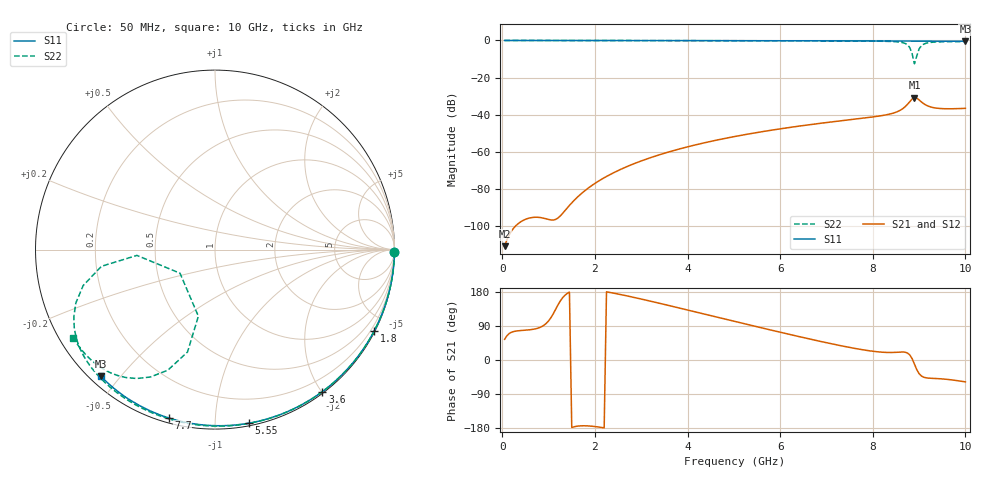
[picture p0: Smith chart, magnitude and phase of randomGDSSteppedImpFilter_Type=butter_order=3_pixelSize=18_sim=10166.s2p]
! freq	dB(S11)	phase(S11)	dB(S12)	phase(S12)
!  dB(S21)	phase(S21)	dB(S22)	phase(S22)
!S-par simulation data
#  GHz  S  DB  R 50
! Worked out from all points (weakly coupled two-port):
!   200 points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, 50 MHz to 10 GHz, reference 50 ohm
!   highest |S21| = -30.77 dB at 8.9 GHz (marker M1); lowest = -110.8 dB at 50 MHz (marker M2)
!   lowest |S11| = -0.4 dB at 10 GHz (marker M3), VSWR 39.07, Z = 1.53 - j22.2 ohm
!   |S11| at or under -10 dB: nowhere
!   |S22| runs from -12.6 to 0.0 dB; largest |S21 - S12| = 0
!   S11 on the Smith chart (normalised r, x): 50 MHz: open; 1.8 GHz: 0.04, -4.16; 3.6 GHz: 0.02, -2.01; 5.55 GHz: 0.02, -1.21; 7.7 GHz: 0.02, -0.76; 10 GHz: 0.03, -0.44
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0.05  -0.00 -0.8  -110.83 54.6  -110.83 54.6  -0.00 -0.9
1.75  -0.03 -26.3  -81.60 -173.5  -81.60 -173.5  -0.04 -31.0
1.8  -0.03 -27.0  -80.60 -173.6  -80.60 -173.6  -0.04 -31.8
2.55  -0.05 -38.0  -69.52 172.9  -69.52 172.9  -0.06 -44.7
3.4  -0.07 -50.1  -61.53 149.5  -61.53 149.5  -0.08 -58.8
3.6  -0.07 -52.9  -60.02 143.7  -60.02 143.7  -0.08 -62.1
5.05  -0.11 -72.5  -51.60 100.9  -51.60 100.9  -0.13 -85.0
5.55  -0.13 -79.0  -49.39 86.3  -49.39 86.3  -0.15 -92.6
6.7  -0.18 -93.4  -45.17 53.7  -45.17 53.7  -0.22 -110.0
7.7  -0.24 -105.4  -42.13 28.7  -42.13 28.7  -0.31 -126.1
8.35  -0.29 -113.1  -39.75 19.8  -39.75 19.8  -0.51 -140.2
8.6  -0.31 -116.0  -37.51 21.0  -37.51 21.0  -0.95 -151.0
8.75  -0.32 -117.7  -34.41 18.4  -34.41 18.4  -2.36 -164.7
8.8  -0.33 -118.3  -32.95 13.3  -32.95 13.3  -3.88 -171.6
8.85  -0.33 -118.8  -31.54 3.5  -31.54 3.5  -7.20 -175.7
8.9  -0.33 -119.4  -30.77 -10.8  -30.77 -10.8  -12.57 -146.0
8.95  -0.34 -120.0  -31.05 -25.5  -31.05 -25.5  -8.35 -104.0
9  -0.34 -120.6  -32.02 -36.1  -32.02 -36.1  -4.57 -105.0
9.1  -0.35 -121.7  -34.08 -45.4  -34.08 -45.4  -1.98 -116.9
9.25  -0.36 -123.4  -35.83 -48.2  -35.83 -48.2  -1.04 -127.7
9.4  -0.38 -125.2  -36.54 -49.1  -36.54 -49.1  -0.78 -134.0
10  -0.44 -132.0  -36.57 -57.8  -36.57 -57.8  -0.62 -148.1
